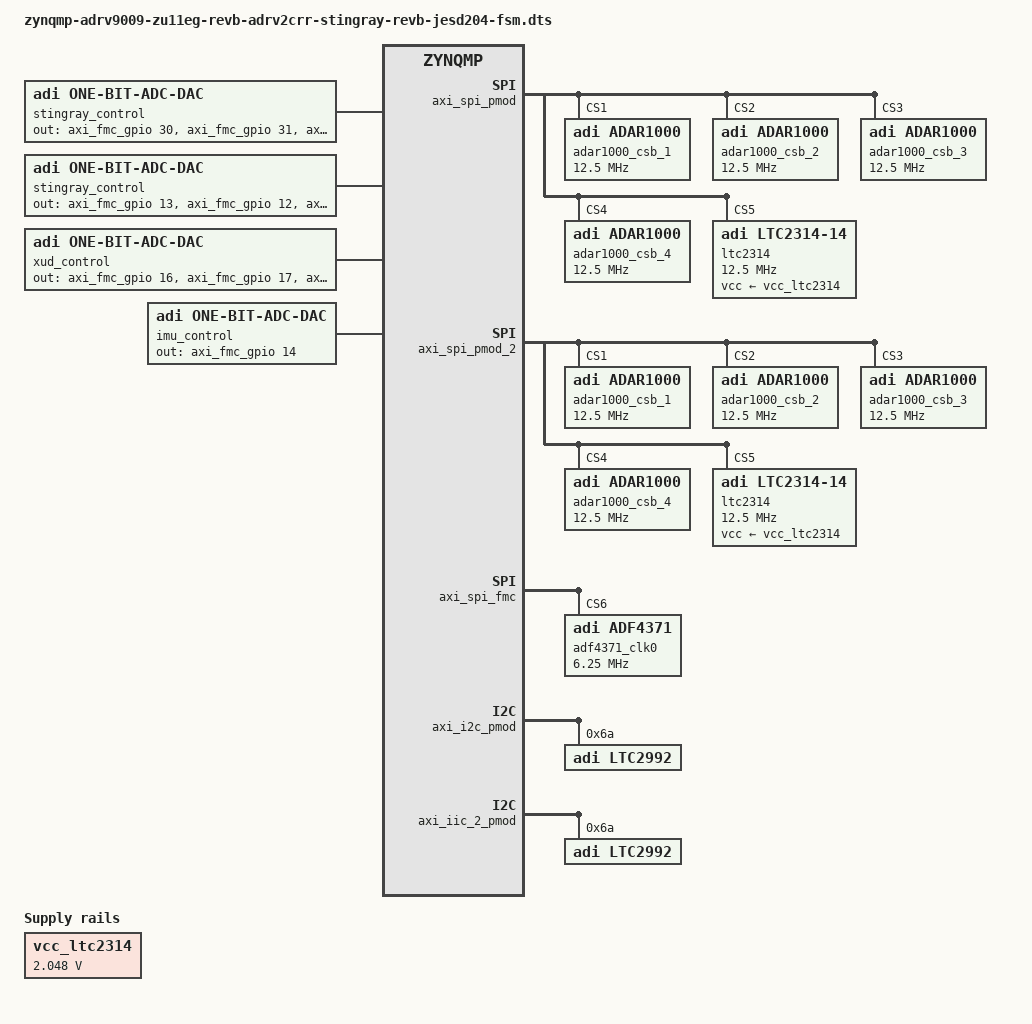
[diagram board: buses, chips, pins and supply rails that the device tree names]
// SPDX-License-Identifier: GPL-2.0
/*
 * ADRV2CRR-FMC using ADRV9009-ZU11EG Rev.B System on Module
 *
 * https://wiki.analog.com/resources/eval/user-guides/adrv9009
 * https://wiki.analog.com/resources/tools-software/linux-drivers/iio-transceiver/adrv9009
 * https://wiki.analog.com/resources/tools-software/linux-software/adrv9009_advanced_plugin
 * https://wiki.analog.com/resources/eval/user-guides/adrv9009-zu11eg/adrv2crr-fmc_carrier_board
 *
 * hdl_project: <adrv9009zu11eg/adrv2crr_fmc>
 * board_revision: <B>
 *
 * Copyright (C) 2019 Analog Devices Inc.
 */

#include "zynqmp-adrv9009-zu11eg-revb-adrv2crr-fmc-revb.dts"
#include <dt-bindings/iio/frequency/hmc7044.h>
#include <dt-bindings/iio/adc/adi,adrv9009.h>

&trx0_adrv9009 {
	jesd204-device;
	#jesd204-cells = <2>;
	jesd204-top-device = <0>; /* This is the TOP device */
	jesd204-link-ids = <DEFRAMER_LINK_TX FRAMER_LINK_RX FRAMER_LINK_ORX>;

	jesd204-inputs =
		<&trx1_adrv9009 0 FRAMER_LINK_RX>,
		<&trx1_adrv9009 0 FRAMER_LINK_ORX>,
		<&trx1_adrv9009 0 DEFRAMER_LINK_TX>;

	/delete-property/ interrupts;

  /* ORX */
	adi,orx-profile-rx-fir-coefs = /bits/ 16 <(-15) 9 (-13) 19 (-28) 38 (-73) 110 (-195) 409 (-1006) 17711 (-1006) 409 (-195) 110 (-73) 38 (-28) 19 (-13) 9 (-15) 0>;
	adi,orx-profile-rhb1-decimation = <1>;
	adi,orx-profile-orx-output-rate_khz = <491520>;
	adi,orx-profile-rf-bandwidth_hz = <450000000>;
	adi,orx-profile-orx-low-pass-adc-profile = /bits/ 16  <155 163 181 90 1280 1254 1572 340 1431 142 973 8 48 47 36 205 0 0 0 0 51 0 0 6 24 0 0 6 24 0 25 27 0 0 25 27 0 0 165 44 15 905>;
	adi,orx-profile-orx-band-pass-adc-profile = /bits/ 16  <124 131 154 90 1280 2779 1986 0 1037 839 988 109 11 15 28 179 0 0 0 0 45 0 0 0 24 0 0 0 24 0 25 27 0 0 25 27 0 0 165 44 15 905>;
	adi,orx-profile-orx-merge-filter = /bits/ 16  <(-167) 419 (-208) (-498) 968 (-320) (-1273) 2154 (-402) (-4155) 9170 21413>;

	/* TX */
	adi,tx-profile-tx-fir-num-fir-coefs = <20>;
	adi,tx-profile-tx-fir-coefs = /bits/ 16  <(-14) (5) (-9) (6) (-4) (19) (-29) (27) (-30) (46) (-63) (77) (-103) (150) (-218) (337) (-599) (1266) (-2718) (19537) (-2718) (1266) (-599) (337) (-218) (150) (-103) (77) (-63) (46) (-30) (27) (-29) (19) (-4) (6) (-9) (5) (-14) (0)>;
	adi,tx-profile-thb3-interpolation = <1>;
	adi,tx-profile-tx-input-rate_khz = <491520>;
	adi,tx-profile-primary-sig-bandwidth_hz = <200000000>;
	adi,tx-profile-rf-bandwidth_hz = <450000000>;
	adi,tx-profile-tx-dac3d-bcorner_khz = <450000>;
	adi,tx-profile-tx-bbf3d-bcorner_khz = <225000>;
	adi,tx-profile-loop-back-adc-profile = /bits/ 16 <150 178 181 90 1280 1338 1699 493 1386 162 934 4 48 46 35 201 0 0 0 0 50 0 0 6 24 0 0 6 24 0 25 27 0 0 25 27 0 0 165 44 15 905>;

	adi,jesd204-framer-a-lmfc-offset = <15>;
};

&trx1_adrv9009 {
	jesd204-device;
	#jesd204-cells = <2>;
	jesd204-inputs =
		<&axi_adrv9009_rx_jesd 0 FRAMER_LINK_RX>,
		<&axi_adrv9009_rx_os_jesd 0 FRAMER_LINK_ORX>,
		<&axi_adrv9009_core_tx 0 DEFRAMER_LINK_TX>;

	/delete-property/ interrupts;

	/* ORX */
	adi,orx-profile-rx-fir-coefs = /bits/ 16 <(-15) 9 (-13) 19 (-28) 38 (-73) 110 (-195) 409 (-1006) 17711 (-1006) 409 (-195) 110 (-73) 38 (-28) 19 (-13) 9 (-15) 0>;
	adi,orx-profile-rhb1-decimation = <1>;
	adi,orx-profile-orx-output-rate_khz = <491520>;
	adi,orx-profile-rf-bandwidth_hz = <450000000>;
	adi,orx-profile-orx-low-pass-adc-profile = /bits/ 16  <155 163 181 90 1280 1254 1572 340 1431 142 973 8 48 47 36 205 0 0 0 0 51 0 0 6 24 0 0 6 24 0 25 27 0 0 25 27 0 0 165 44 15 905>;
	adi,orx-profile-orx-band-pass-adc-profile = /bits/ 16  <124 131 154 90 1280 2779 1986 0 1037 839 988 109 11 15 28 179 0 0 0 0 45 0 0 0 24 0 0 0 24 0 25 27 0 0 25 27 0 0 165 44 15 905>;
	adi,orx-profile-orx-merge-filter = /bits/ 16  <(-167) 419 (-208) (-498) 968 (-320) (-1273) 2154 (-402) (-4155) 9170 21413>;

	/* TX */
	adi,tx-profile-tx-fir-num-fir-coefs = <20>;
	adi,tx-profile-tx-fir-coefs = /bits/ 16  <(-14) (5) (-9) (6) (-4) (19) (-29) (27) (-30) (46) (-63) (77) (-103) (150) (-218) (337) (-599) (1266) (-2718) (19537) (-2718) (1266) (-599) (337) (-218) (150) (-103) (77) (-63) (46) (-30) (27) (-29) (19) (-4) (6) (-9) (5) (-14) (0)>;
	adi,tx-profile-thb3-interpolation = <1>;
	adi,tx-profile-tx-input-rate_khz = <491520>;
	adi,tx-profile-primary-sig-bandwidth_hz = <200000000>;
	adi,tx-profile-rf-bandwidth_hz = <450000000>;
	adi,tx-profile-tx-dac3d-bcorner_khz = <450000>;
	adi,tx-profile-tx-bbf3d-bcorner_khz = <225000>;
	adi,tx-profile-loop-back-adc-profile = /bits/ 16 <150 178 181 90 1280 1338 1699 493 1386 162 934 4 48 46 35 201 0 0 0 0 50 0 0 6 24 0 0 6 24 0 25 27 0 0 25 27 0 0 165 44 15 905>;

	adi,jesd204-framer-a-lmfc-offset = <15>;
};

&axi_adrv9009_core_tx {
	jesd204-device;
	#jesd204-cells = <2>;
	jesd204-inputs = <&axi_adrv9009_tx_jesd 0 DEFRAMER_LINK_TX>;
	adi,axi-data-offload-connected = <&axi_data_offload_tx>;
	adi,axi-pl-fifo-enable;
};

&axi_adrv9009_rx_jesd {
	jesd204-device;
	#jesd204-cells = <2>;
	jesd204-inputs = <&axi_adrv9009_adxcvr_rx 0 FRAMER_LINK_RX>;
	clocks = <&zynqmp_clk 71>, <&hmc7044 7>, <&axi_adrv9009_adxcvr_rx 0>;
	clock-names = "s_axi_aclk", "device_clk", "lane_clk";
};

&axi_adrv9009_rx_os_jesd {
	jesd204-device;
	#jesd204-cells = <2>;
	jesd204-inputs = <&axi_adrv9009_adxcvr_rx_os 0 FRAMER_LINK_ORX>;
	clocks = <&zynqmp_clk 71>, <&hmc7044 6>, <&axi_adrv9009_adxcvr_rx_os 0>;
	clock-names = "s_axi_aclk", "device_clk", "lane_clk";
};

&axi_adrv9009_tx_jesd {
	jesd204-device;
	#jesd204-cells = <2>;
	jesd204-inputs = <&axi_adrv9009_adxcvr_tx 0 DEFRAMER_LINK_TX>;
	clocks = <&zynqmp_clk 71>, <&hmc7044 6>, <&axi_adrv9009_adxcvr_tx 0>;
	clock-names = "s_axi_aclk", "device_clk", "lane_clk";
};

&axi_adrv9009_adxcvr_rx {
	jesd204-device;
	#jesd204-cells = <2>;
	jesd204-inputs =  <&hmc7044 0 FRAMER_LINK_RX>;
	clock-names = "conv";
	clocks = <&hmc7044 5>;
};

&axi_adrv9009_adxcvr_rx_os {
	jesd204-device;
	#jesd204-cells = <2>;
	jesd204-inputs =  <&hmc7044 0 FRAMER_LINK_ORX>;
	clock-names = "conv";
	clocks = <&hmc7044 4>;
};

&axi_adrv9009_adxcvr_tx {
	jesd204-device;
	#jesd204-cells = <2>;
	jesd204-inputs =  <&hmc7044 0 DEFRAMER_LINK_TX>;
	clock-names = "conv";
	clocks = <&hmc7044 4>;
};

&hmc7044 {
	jesd204-device;
	#jesd204-cells = <2>;
	jesd204-inputs = <&hmc7044_car 0 FRAMER_LINK_RX>,
		<&hmc7044_car 0 FRAMER_LINK_ORX>,
		<&hmc7044_car 0 DEFRAMER_LINK_TX>;

	adi,pulse-generator-mode = <HMC7044_PULSE_GEN_16_PULSE>;
	adi,sync-pin-mode = <1>;

	/delete-property/ adi,pll2-autocal-bypass-manual-cap-bank-sel;
	adi,hmc-two-level-tree-sync-en;

	hmc7044_c6: channel@6 {
		reg = <6>;
		adi,extended-name = "CORE_CLK_TX_OBS_AB";
		adi,divider = <12>;	// 245760000
		adi,driver-mode = <HMC7044_DRIVER_MODE_LVDS>;	// LVDS
	};
};

&hmc7044_car {
	jesd204-device;
	#jesd204-cells = <2>;
	jesd204-sysref-provider;

	adi,pulse-generator-mode = <HMC7044_PULSE_GEN_16_PULSE>;
	adi,sync-pin-mode = <0>;

	/delete-property/ adi,pll2-autocal-bypass-manual-cap-bank-sel;
	adi,hmc-two-level-tree-sync-en;
};

/ {
	clocks {
		adf4371_clkin: clock@0 {
			#clock-cells = <0>;
			compatible = "fixed-clock";
			clock-frequency = <100000000>;
			clock-output-names = "adf4371_clkin";
		};
	};

	vcc_ltc2314: fixedregulator@0 {
		compatible = "regulator-fixed";
		regulator-name = "fixed-supply";
		regulator-min-microvolt = <2048000>;
		regulator-max-microvolt = <2048000>;
		regulator-boot-on;
	};

	stingray_control@0 {
		compatible = "adi,one-bit-adc-dac";
		#address-cells = <1>;
		#size-cells = <0>;

		out-gpios = <&axi_fmc_gpio 30 0>, <&axi_fmc_gpio 31 0>,
								<&axi_fmc_gpio 29 0>, <&axi_fmc_gpio 28 0>,
								<&axi_fmc_gpio 27 0>, <&axi_fmc_gpio 26 0>;
		label = "stingray_control";

		channel@0 {
			reg = <0>;
			label = "PA_ON";
		};

		channel@1 {
			reg = <1>;
			label = "TR";
		};

		channel@2 {
			reg = <2>;
			label = "TX_LOAD";
		};

		channel@3 {
			reg = <3>;
			label = "RX_LOAD";
		};

		channel@4 {
			reg = <4>;
			label = "5V_CTRL";
		};

		channel@5 {
			reg = <5>;
			label = "PWR_UP_DOWN";
		};
	};

	stingray_control_1@1 {
		compatible = "adi,one-bit-adc-dac";
		#address-cells = <1>;
		#size-cells = <0>;

		out-gpios = <&axi_fmc_gpio 13 0>, <&axi_fmc_gpio 12 0>,
								<&axi_fmc_gpio 11 0>, <&axi_fmc_gpio 10 0>,
								<&axi_fmc_gpio  9 0>, <&axi_fmc_gpio  8 0>;
		label = "stingray_control";

		channel@0 {
			reg = <0>;
			label = "PA_ON";
		};

		channel@1 {
			reg = <1>;
			label = "TR";
		};

		channel@2 {
			reg = <2>;
			label = "TX_LOAD";
		};

		channel@3 {
			reg = <3>;
			label = "RX_LOAD";
		};

		channel@4 {
			reg = <4>;
			label = "5V_CTRL";
		};

		channel@5 {
			reg = <5>;
			label = "PWR_UP_DOWN";
		};
	};


	xud_control@2 {
		compatible = "adi,one-bit-adc-dac";
		#address-cells = <1>;
		#size-cells = <0>;

		out-gpios = <&axi_fmc_gpio 16 0>, <&axi_fmc_gpio 17 0>,
								<&axi_fmc_gpio 18 0>, <&axi_fmc_gpio 19 0>,
								<&axi_fmc_gpio 20 0>, <&axi_fmc_gpio 21 0>;
		label = "xud_control";

		channel@0 {
			reg = <0>;
			label = "RX_GAIN_MODE";
		};

		channel@1 {
			reg = <1>;
			label = "TXRX0";
		};

		channel@2 {
			reg = <2>;
			label = "TXRX1";
		};

		channel@3 {
			reg = <3>;
			label = "TXRX2";
		};

		channel@4 {
			reg = <4>;
			label = "TXRX3";
		};

		channel@5 {
			reg = <5>;
			label = "PLL_OUTPUT_SEL";
		};
	};

	imu_control@3 {
		compatible = "adi,one-bit-adc-dac";
		#address-cells = <1>;
		#size-cells = <0>;

		out-gpios =  <&axi_fmc_gpio 14 0>;
		label = "imu_control";

		channel@0 {
			reg = <0>;
			label = "RST";
		};
	};
};

&fpga_axi {
	axi_tdd_0: axi-tdd-0@9c470000 {
		compatible = "adi,axi-tdd";
		reg = <0x0 0x9c470000 0x1000>;
		clocks = <&zynqmp_clk PL0_REF>, <&hmc7044 6>;
		clock-names = "s_axi_aclk", "intf_clk";
	};

	iio_axi_tdd_0: iio-axi-tdd-0@0 {
		compatible = "adi,iio-fake-platform-device";
		adi,faked-dev = <&axi_tdd_0>;
		adi,attribute-names =
			"version", "core_id", "scratch", "magic",
			"sync_soft", "sync_external", "sync_internal", "sync_reset",
			"enable", "startup_delay_raw", "startup_delay_ms",
			"burst_count", "frame_length_raw", "frame_length_ms",
			"state", "internal_sync_period_raw", "internal_sync_period_ms",
			"out_channel0_enable", "out_channel0_polarity",
			"out_channel0_on_raw", "out_channel0_on_ms",
			"out_channel0_off_raw", "out_channel0_off_ms",
			"out_channel1_enable", "out_channel1_polarity",
			"out_channel1_on_raw", "out_channel1_on_ms",
			"out_channel1_off_raw", "out_channel1_off_ms",
			"out_channel2_enable", "out_channel2_polarity",
			"out_channel2_on_raw", "out_channel2_on_ms",
			"out_channel2_off_raw", "out_channel2_off_ms",
			"out_channel3_enable", "out_channel3_polarity",
			"out_channel3_on_raw", "out_channel3_on_ms",
			"out_channel3_off_raw", "out_channel3_off_ms",
			"out_channel4_enable", "out_channel4_polarity",
			"out_channel4_on_raw", "out_channel4_on_ms",
			"out_channel4_off_raw", "out_channel4_off_ms",
			"out_channel5_enable", "out_channel5_polarity",
			"out_channel5_on_raw", "out_channel5_on_ms",
			"out_channel5_off_raw", "out_channel5_off_ms";
		label = "axi-core-tdd";
	};

	axi_data_offload_tx: axi-data-offload-0@9c460000 {
		compatible = "adi,axi-data-offload-1.0.a";
		reg = <0x0 0x9c460000 0x10000>;
		adi,oneshot;
		adi,sync-config = <1>;
	};

	axi_data_offload_rx: axi-data-offload-1@9c450000 {
		compatible = "adi,axi-data-offload-1.0.a";
		reg = <0x0 0x9c450000 0x10000>;
		adi,oneshot;
		adi,sync-config = <1>;
	};

	axi_spi_pmod: spi@85200000 {
		#address-cells = <1>;
		#size-cells = <0>;
		bits-per-word = <8>;
		compatible = "xlnx,xps-spi-2.00.a";
		fifo-size = <16>;
		interrupt-names = "ip2intc_irpt";
		interrupt-parent = <&gic>;
		interrupts = <0 111 IRQ_TYPE_EDGE_RISING>;
		num-cs = <0x8>;
		reg = <0x0 0x85200000 0x1000>;
		xlnx,num-ss-bits = <0x8>;
		xlnx,spi-mode = <0>;

		adar1000_csb_1@1 {
			compatible = "adi,adar1000";
			reg = <1>;
			spi-max-frequency = <12500000>;

			#address-cells = <1>;
			#size-cells = <0>;

			adar1000_csb_1_1@0 {
				reg = <0>;
				label = "adar1000_csb_1_1";
			};

			adar1000_csb_1_2@1 {
				reg = <1>;
				label = "adar1000_csb_1_2";
			};

			adar1000_csb_1_3@2 {
				reg = <2>;
				label = "adar1000_csb_1_3";
			};

			adar1000_csb_1_4@3 {
				reg = <3>;
				label = "adar1000_csb_1_4";
			};
		};

		adar1000_csb_2@2 {
			compatible = "adi,adar1000";
			reg = <2>;
			spi-max-frequency = <12500000>;

			#address-cells = <1>;
			#size-cells = <0>;

			adar1000_csb_2_1@0 {
				reg = <0>;
				label = "adar1000_csb_2_1";
			};

			adar1000_csb_2_2@1 {
				reg = <1>;
				label = "adar1000_csb_2_2";
			};

			adar1000_csb_2_3@2 {
				reg = <2>;
				label = "adar1000_csb_2_3";
			};

			adar1000_csb_2_4@3 {
				reg = <3>;
				label = "adar1000_csb_2_4";
			};
		};

		adar1000_csb_3@3 {
			compatible = "adi,adar1000";
			reg = <3>;
			spi-max-frequency = <12500000>;

			#address-cells = <1>;
			#size-cells = <0>;

			adar1000_csb_3_1@0 {
				reg = <0>;
				label = "adar1000_csb_3_1";
			};

			adar1000_csb_3_2@1 {
				reg = <1>;
				label = "adar1000_csb_3_2";
			};

			adar1000_csb_3_3@2 {
				reg = <2>;
				label = "adar1000_csb_3_3";
			};

			adar1000_csb_3_4@3 {
				reg = <3>;
				label = "adar1000_csb_3_4";
			};
		};

		adar1000_csb_4@4 {
			compatible = "adi,adar1000";
			reg = <4>;
			spi-max-frequency = <12500000>;

			#address-cells = <1>;
			#size-cells = <0>;

			adar1000_csb_4_1@0 {
				reg = <0>;
				label = "adar1000_csb_4_1";
			};

			adar1000_csb_4_2@1 {
				reg = <1>;
				label = "adar1000_csb_4_2";
			};

			adar1000_csb_4_3@2 {
				reg = <2>;
				label = "adar1000_csb_4_3";
			};

			adar1000_csb_4_4@3 {
				reg = <3>;
				label = "adar1000_csb_4_4";
			};
		};

		ltc2314@5 {
			compatible = "adi,ltc2314-14";
			reg = <5>;
			spi-max-frequency = <12500000>;
			vcc-supply = <&vcc_ltc2314>;
		};
	};

	axi_spi_pmod_2: spi@85400000 {
		#address-cells = <1>;
		#size-cells = <0>;
		bits-per-word = <8>;
		compatible = "xlnx,xps-spi-2.00.a";
		fifo-size = <16>;
		interrupt-names = "ip2intc_irpt";
		interrupt-parent = <&gic>;
		interrupts = <0 92 IRQ_TYPE_EDGE_RISING>;
		num-cs = <0x8>;
		reg = <0x0 0x85400000 0x1000>;
		xlnx,num-ss-bits = <0x8>;
		xlnx,spi-mode = <0>;

		adar1000_csb_1@1 {
			compatible = "adi,adar1000";
			reg = <1>;
			spi-max-frequency = <12500000>;

			#address-cells = <1>;
			#size-cells = <0>;

			adar1000_csb_1_1@0 {
				reg = <0>;
				label = "adar1000_csb_1_1";
			};

			adar1000_csb_1_2@1 {
				reg = <1>;
				label = "adar1000_csb_1_2";
			};

			adar1000_csb_1_3@2 {
				reg = <2>;
				label = "adar1000_csb_1_3";
			};

			adar1000_csb_1_4@3 {
				reg = <3>;
				label = "adar1000_csb_1_4";
			};
		};

		adar1000_csb_2@2 {
			compatible = "adi,adar1000";
			reg = <2>;
			spi-max-frequency = <12500000>;

			#address-cells = <1>;
			#size-cells = <0>;

			adar1000_csb_2_1@0 {
				reg = <0>;
				label = "adar1000_csb_2_1";
			};

			adar1000_csb_2_2@1 {
				reg = <1>;
				label = "adar1000_csb_2_2";
			};

			adar1000_csb_2_3@2 {
				reg = <2>;
				label = "adar1000_csb_2_3";
			};

			adar1000_csb_2_4@3 {
				reg = <3>;
				label = "adar1000_csb_2_4";
			};
		};

		adar1000_csb_3@3 {
			compatible = "adi,adar1000";
			reg = <3>;
			spi-max-frequency = <12500000>;

			#address-cells = <1>;
			#size-cells = <0>;

			adar1000_csb_3_1@0 {
				reg = <0>;
				label = "adar1000_csb_3_1";
			};

			adar1000_csb_3_2@1 {
				reg = <1>;
				label = "adar1000_csb_3_2";
			};

			adar1000_csb_3_3@2 {
				reg = <2>;
				label = "adar1000_csb_3_3";
			};

			adar1000_csb_3_4@3 {
				reg = <3>;
				label = "adar1000_csb_3_4";
			};
		};

		adar1000_csb_4@4 {
			compatible = "adi,adar1000";
			reg = <4>;
			spi-max-frequency = <12500000>;

			#address-cells = <1>;
			#size-cells = <0>;

			adar1000_csb_4_1@0 {
				reg = <0>;
				label = "adar1000_csb_4_1";
			};

			adar1000_csb_4_2@1 {
				reg = <1>;
				label = "adar1000_csb_4_2";
			};

			adar1000_csb_4_3@2 {
				reg = <2>;
				label = "adar1000_csb_4_3";
			};

			adar1000_csb_4_4@3 {
				reg = <3>;
				label = "adar1000_csb_4_4";
			};
		};

		ltc2314@5 {
			compatible = "adi,ltc2314-14";
			reg = <5>;
			spi-max-frequency = <12500000>;
			vcc-supply = <&vcc_ltc2314>;
		};
	};

	axi_spi_fmc: spi@85500000 {
		#address-cells = <1>;
		#size-cells = <0>;
		bits-per-word = <8>;
		compatible = "xlnx,xps-spi-2.00.a";
		fifo-size = <16>;
		interrupt-names = "ip2intc_irpt";
		interrupt-parent = <&gic>;
		interrupts = <0 93 IRQ_TYPE_EDGE_RISING>;
		num-cs = <0x8>;
		reg = <0x0 0x85500000 0x1000>;
		xlnx,num-ss-bits = <0x8>;
		xlnx,spi-mode = <0>;

		adf4371_clk0: adf4371-0@6 {
			compatible = "adi,adf4371";
			reg = <6>;

			#address-cells = <1>;
			#clock-cells = <1>;
			#size-cells = <0>;

			spi-max-frequency = <6250000>;
			clocks = <&adf4371_clkin>;
			clock-names = "clkin";
			clock-output-names = "pll0-clk-rf8", "pll0-clk-rfaux8",
				"pll0-clk-rf16", "pll0-clk-rf32";
		};
	};

	axi_fmc_gpio: axi_fmc_gpio@86000000 {
		#gpio-cells = <2>;
		#interrupt-cells = <2>;
		compatible = "xlnx,axi-gpio-2.0", "xlnx,xps-gpio-1.00.a";
		gpio-controller;
		interrupt-controller;
		interrupt-names = "ip2intc_irpt";
		interrupt-parent = <&gic>;
		interrupts = <0 94 IRQ_TYPE_LEVEL_HIGH>;
		reg = <0x0 0x86000000 0x1000>;
		xlnx,all-inputs = <0x0>;
		xlnx,all-inputs-2 = <0x0>;
		xlnx,all-outputs = <0x0>;
		xlnx,all-outputs-2 = <0x0>;
		xlnx,dout-default = <0x00000000>;
		xlnx,dout-default-2 = <0x00000000>;
		xlnx,gpio-width = <0x20>;
		xlnx,gpio2-width = <0x20>;
		xlnx,interrupt-present = <0x1>;
		xlnx,is-dual = <0x0>;
		xlnx,tri-default = <0xFFFFFFFF>;
		xlnx,tri-default-2 = <0xFFFFFFFF>;
	};

	axi_i2c_pmod: i2c@85100000 {
		#address-cells = <1>;
		#size-cells = <0>;
		clock-names = "s_axi_aclk";
		clocks = <&zynqmp_clk 71>;
		compatible = "xlnx,axi-iic-2.0", "xlnx,xps-iic-2.00.a";
		interrupt-names = "iic2intc_irpt";
		interrupt-parent = <&gic>;
		interrupts = <0 110 IRQ_TYPE_LEVEL_HIGH>;
		reg = <0x0 0x85100000 0x1000>;

		ltc2992@6a {
			#address-cells = <1>;
			#size-cells = <0>;
			compatible = "adi,ltc2992";
			reg = <0x6A>;

			channel@0 {
				reg = <0x0>;
				shunt-resistor-micro-ohms = <8000>;
			};

			channel@1 {
				reg = <0x1>;
				shunt-resistor-micro-ohms = <3500>;
			};
		};
	};

	axi_iic_2_pmod: i2c@85300000 {
		#address-cells = <1>;
		#size-cells = <0>;
		clock-names = "s_axi_aclk";
		clocks = <&zynqmp_clk 71>;
		compatible = "xlnx,axi-iic-2.1", "xlnx,xps-iic-2.00.a";
		interrupt-names = "iic2intc_irpt";
		interrupt-parent = <&gic>;
		interrupts = <0 91 IRQ_TYPE_LEVEL_HIGH>;
		reg = <0x0 0x85300000 0x1000>;

		ltc2992@6a {
			#address-cells = <1>;
			#size-cells = <0>;
			compatible = "adi,ltc2992";
			reg = <0x6A>;

			channel@0 {
				reg = <0x0>;
				shunt-resistor-micro-ohms = <8000>;
			};

			channel@1 {
				reg = <0x1>;
				shunt-resistor-micro-ohms = <3500>;
			};
		};
	};
};
